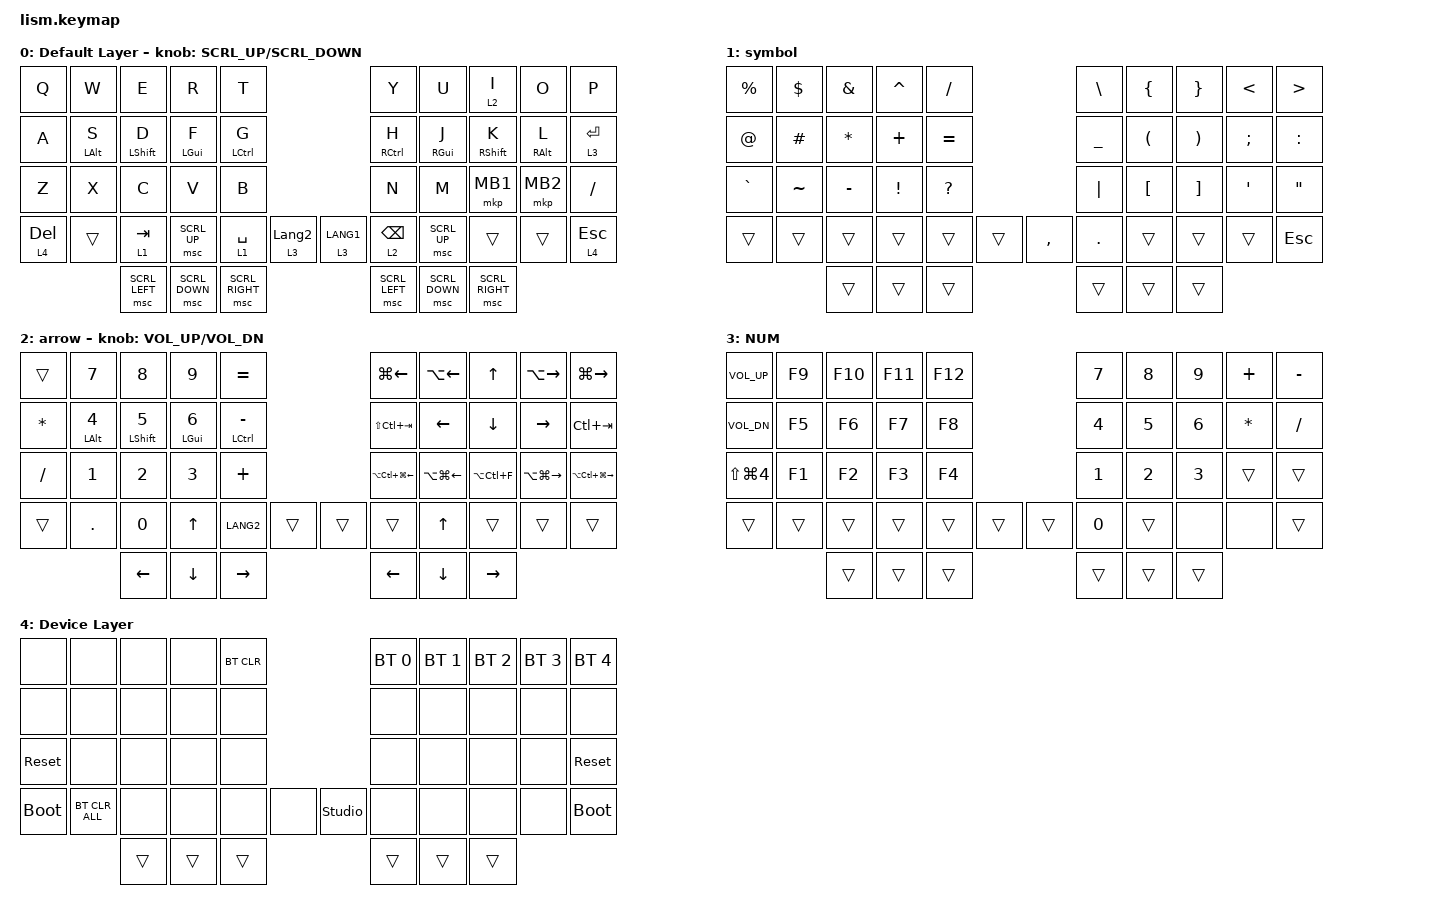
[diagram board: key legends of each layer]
#define ZMK_POINTING_DEFAULT_SCRL_VAL 200

#include <dt-bindings/zmk/mouse.h>
#include <behaviors.dtsi>
#include <dt-bindings/zmk/bt.h>
#include <dt-bindings/zmk/keys.h>
#include <dt-bindings/zmk/pointing.h>

&mt {
    tapping-term-ms = <300>;
    flavor = "balanced";
};

&lt { quick-tap-ms = <300>; };

/ {
    macros {
        emoji: emoji_macro {
            compatible = "zmk,behavior-macro";
            label = "EMOJI";
            #binding-cells = <0>;
            bindings =
                <&macro_press>,
                <&kp CAPSLOCK>,
                <&macro_tap>,
                <&kp E>,
                <&macro_release>,
                <&kp CAPSLOCK>;
        };
    };

    behaviors {
        encoder_msc: sensor_rotate_msc {
            compatible = "zmk,behavior-sensor-rotate-var";
            #sensor-binding-cells = <2>;
            bindings = <&msc>, <&msc>;

            tap-ms = <20>;
        };

        encoder_kp: sensor_rotate_kp {
            compatible = "zmk,behavior-sensor-rotate-var";
            #sensor-binding-cells = <2>;
            bindings = <&kp>, <&kp>;
        };
    };

    keymap {
        compatible = "zmk,keymap";

        default_layer {
            display-name = "Default Layer";
            bindings = <
&kp Q         &kp W       &kp E           &kp R           &kp T                                             &kp Y            &kp U           &lt 2 I          &kp O       &kp P
&kp A         &mt LALT S  &mt LSHIFT D    &mt LGUI F      &mt LCTRL G                                       &mt RCTRL H      &mt RGUI J      &mt RSHIFT K     &mt RALT L  &lt 3 ENTER
&kp Z         &kp X       &kp C           &kp V           &kp B                                             &kp N            &kp M           &mkp MB1         &mkp MB2    &kp SLASH
&lt 4 DELETE  &trans      &lt 1 TAB       &msc SCRL_UP    &lt 1 SPACE      &lt 3 LANGUAGE_2    &lt 3 LANG1  &lt 2 BACKSPACE  &msc SCRL_UP    &trans           &trans      &lt 4 ESCAPE
                          &msc SCRL_LEFT  &msc SCRL_DOWN  &msc SCRL_RIGHT                                   &msc SCRL_LEFT   &msc SCRL_DOWN  &msc SCRL_RIGHT
            >;

            sensor-bindings = <&encoder_msc SCRL_UP SCRL_DOWN>;
        };

        layer_1 {
            display-name = "symbol";
            bindings = <
&kp PERCENT  &kp DOLLAR  &kp AMPERSAND  &kp CARET        &kp SLASH                          &kp BACKSLASH   &kp LEFT_BRACE        &kp RIGHT_BRACE        &kp LESS_THAN  &kp GREATER_THAN
&kp AT_SIGN  &kp HASH    &kp ASTERISK   &kp PLUS         &kp EQUAL                          &kp UNDERSCORE  &kp LEFT_PARENTHESIS  &kp RIGHT_PARENTHESIS  &kp SEMICOLON  &kp COLON
&kp GRAVE    &kp TILDE   &kp MINUS      &kp EXCLAMATION  &kp QUESTION                       &kp PIPE        &kp LEFT_BRACKET      &kp RIGHT_BRACKET      &kp SQT        &kp DOUBLE_QUOTES
&trans       &trans      &trans         &trans           &trans        &trans    &kp COMMA  &kp PERIOD      &trans                &trans                 &trans         &kp ESCAPE
                         &trans         &trans           &trans                             &trans          &trans                &trans
            >;
        };

        layer_2 {
            display-name = "arrow";
            bindings = <
&trans        &kp NUMBER_7       &kp NUMBER_8         &kp NUMBER_9       &kp EQUAL                          &kp LG(LEFT_ARROW)          &kp LA(LEFT_ARROW)      &kp UP_ARROW    &kp LA(RIGHT_ARROW)      &kp LG(RIGHT_ARROW)
&kp ASTERISK  &mt LALT NUMBER_4  &mt LSHIFT NUMBER_5  &mt LGUI NUMBER_6  &mt LCTRL MINUS                    &kp LS(LC(TAB))             &kp LEFT                &kp DOWN_ARROW  &kp RIGHT                &kp LC(TAB)
&kp SLASH     &kp NUMBER_1       &kp NUMBER_2         &kp NUMBER_3       &kp PLUS                           &kp LA(LC(LG(LEFT_ARROW)))  &kp LA(LG(LEFT_ARROW))  &kp LA(LC(F))   &kp LA(LG(RIGHT_ARROW))  &kp LA(LC(LG(RIGHT_ARROW)))
&trans        &kp DOT            &kp NUMBER_0         &kp UP             &kp LANG2        &trans    &trans  &trans                      &kp UP                  &trans          &trans                   &trans
                                 &kp LEFT             &kp DOWN           &kp RIGHT                          &kp LEFT                    &kp DOWN                &kp RIGHT
            >;

            sensor-bindings = <&encoder_kp C_VOL_UP C_VOL_DN>;
        };

        layer_3 {
            display-name = "NUM";
            bindings = <
&kp C_VOLUME_UP       &kp F9  &kp F10  &kp F11  &kp F12                    &kp N7        &kp N8        &kp N9        &kp PLUS      &kp MINUS
&kp C_VOL_DN          &kp F5  &kp F6   &kp F7   &kp F8                     &kp NUMBER_4  &kp N5        &kp NUMBER_6  &kp ASTERISK  &kp SLASH
&kp LS(LG(NUMBER_4))  &kp F1  &kp F2   &kp F3   &kp F4                     &kp NUMBER_1  &kp NUMBER_2  &kp NUMBER_3  &trans        &trans
&trans                &trans  &trans   &trans   &trans   &trans    &trans  &kp N0        &trans        &none         &none         &trans
                              &trans   &trans   &trans                     &trans        &trans        &trans
            >;
        };

        layer_4 {
            display-name = "Device Layer";
            bindings = <
&none        &none           &none   &none   &bt BT_CLR                           &bt BT_SEL 0  &bt BT_SEL 1  &bt BT_SEL 2  &bt BT_SEL 3  &bt BT_SEL 4
&none        &none           &none   &none   &none                                &none         &none         &none         &none         &none
&sys_reset   &none           &none   &none   &none                                &none         &none         &none         &none         &sys_reset
&bootloader  &bt BT_CLR_ALL  &none   &none   &none       &none    &studio_unlock  &none         &none         &none         &none         &bootloader
                             &trans  &trans  &trans                               &trans        &trans        &trans
            >;
        };

        layer_5 {
            status = "reserved";
            display-name = "Brank Layer";
            bindings = <
&trans  &trans  &trans  &trans  &trans                    &trans  &trans  &trans  &trans  &trans
&trans  &trans  &trans  &trans  &trans                    &trans  &trans  &trans  &trans  &trans
&trans  &trans  &trans  &trans  &trans                    &trans  &trans  &trans  &trans  &trans
&trans  &trans  &trans  &trans  &trans  &trans    &trans  &trans  &trans  &trans  &trans  &trans
                &trans  &trans  &trans                    &trans  &trans  &trans
            >;
        };

        layer_6 {
            status = "reserved";
            display-name = "Brank Layer";
            bindings = <
&trans  &trans  &trans  &trans  &trans                    &trans  &trans  &trans  &trans  &trans
&trans  &trans  &trans  &trans  &trans                    &trans  &trans  &trans  &trans  &trans
&trans  &trans  &trans  &trans  &trans                    &trans  &trans  &trans  &trans  &trans
&trans  &trans  &trans  &trans  &trans  &trans    &trans  &trans  &trans  &trans  &trans  &trans
                &trans  &trans  &trans                    &trans  &trans  &trans
            >;
        };

        layer_7 {
            status = "reserved";
            display-name = "Brank Layer";
            bindings = <
&trans  &trans  &trans  &trans  &trans                    &trans  &trans  &trans  &trans  &trans
&trans  &trans  &trans  &trans  &trans                    &trans  &trans  &trans  &trans  &trans
&trans  &trans  &trans  &trans  &trans                    &trans  &trans  &trans  &trans  &trans
&trans  &trans  &trans  &trans  &trans  &trans    &trans  &trans  &trans  &trans  &trans  &trans
                &trans  &trans  &trans                    &trans  &trans  &trans
            >;
        };
    };
};
